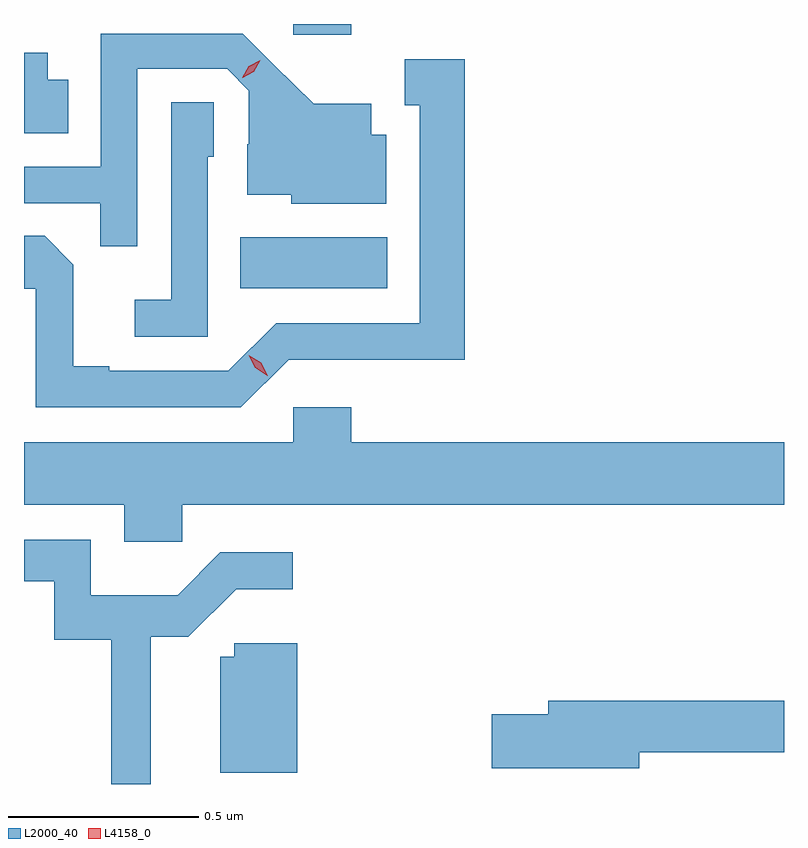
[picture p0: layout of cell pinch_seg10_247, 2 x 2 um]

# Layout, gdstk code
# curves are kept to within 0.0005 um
import gdstk
lib = gdstk.Library(unit=1e-6, precision=1e-09)
def R(c, l, rs):  # rectangles x0, y0, x1, y1
    for r in rs: c.add(gdstk.rectangle(r[:2], r[2:], *l))
def P(c, l, *ps):  # polygons
    for p in ps: c.add(gdstk.Polygon(p, *l))
L2000_40 = (2000, 40)
L4158_0 = (4158, 0)

pinch_seg10_247 = lib.new_cell('pinch_seg10_247')
R(pinch_seg10_247, L2000_40, [(614.668,1307.546,615.055,1307.68), (614.808,1308.213,614.96,1308.241)])
P(pinch_seg10_247, L2000_40, [(614.397,1308.123),(614.634,1308.123),(614.691,1308.066),(614.691,1307.924),(614.687,1307.924),(614.687,1307.792),(614.802,1307.792),(614.802,1307.768),(615.052,1307.768),(615.052,1307.95),(615.013,1307.95),(615.013,1308.031),(614.861,1308.031),(614.674,1308.216),(614.301,1308.216),(614.301,1307.865),(614.099,1307.865),(614.099,1307.769),(614.299,1307.769),(614.299,1307.656),(614.397,1307.656)],
  [(614.216,1308.094),(614.161,1308.094),(614.161,1308.166),(614.099,1308.166),(614.099,1307.954),(614.216,1307.954)],
  [(614.796,1307.358),(615.018,1307.358),(615.018,1307.357),(615.259,1307.357),(615.259,1308.148),(615.101,1308.148),(615.101,1308.027),(615.14,1308.027),(615.14,1307.454),(614.763,1307.454),(614.637,1307.328),(614.323,1307.328),(614.323,1307.341),(614.229,1307.341),(614.229,1307.608),(614.153,1307.684),(614.099,1307.684),(614.099,1307.544),(614.13,1307.544),(614.13,1307.232),(614.67,1307.232)],
  [(614.583,1307.892),(614.598,1307.892),(614.598,1308.035),(614.487,1308.035),(614.487,1307.515),(614.391,1307.515),(614.391,1307.418),(614.583,1307.418)],
  [(614.515,1306.976),(616.099,1306.976),(616.099,1307.14),(614.96,1307.14),(614.96,1307.233),(614.808,1307.233),(614.808,1307.14),(614.099,1307.14),(614.099,1306.976),(614.363,1306.976),(614.363,1306.878),(614.515,1306.878)],
  [(614.432,1306.629),(614.531,1306.629),(614.657,1306.754),(614.806,1306.754),(614.806,1306.851),(614.616,1306.851),(614.503,1306.738),(614.274,1306.738),(614.274,1306.884),(614.099,1306.884),(614.099,1306.774),(614.178,1306.774),(614.178,1306.621),(614.329,1306.621),(614.329,1306.241),(614.432,1306.241)],
  [(614.818,1306.612),(614.652,1306.612),(614.652,1306.576),(614.615,1306.576),(614.615,1306.271),(614.818,1306.271)],
  [(615.718,1306.324),(616.099,1306.324),(616.099,1306.46),(615.479,1306.46),(615.479,1306.424),(615.33,1306.424),(615.33,1306.282),(615.718,1306.282)])
P(pinch_seg10_247, L4158_0, [(614.739,1307.316),(614.708,1307.336),(614.691,1307.369),(614.691,1307.369),(614.691,1307.369),(614.723,1307.349),(614.74,1307.316),(614.74,1307.316)],
  [(614.673,1308.1),(614.673,1308.1),(614.69,1308.13),(614.721,1308.146),(614.721,1308.146),(614.721,1308.146),(614.704,1308.116),(614.674,1308.1)])

lib.write_gds('pinch_seg10_247.gds')
